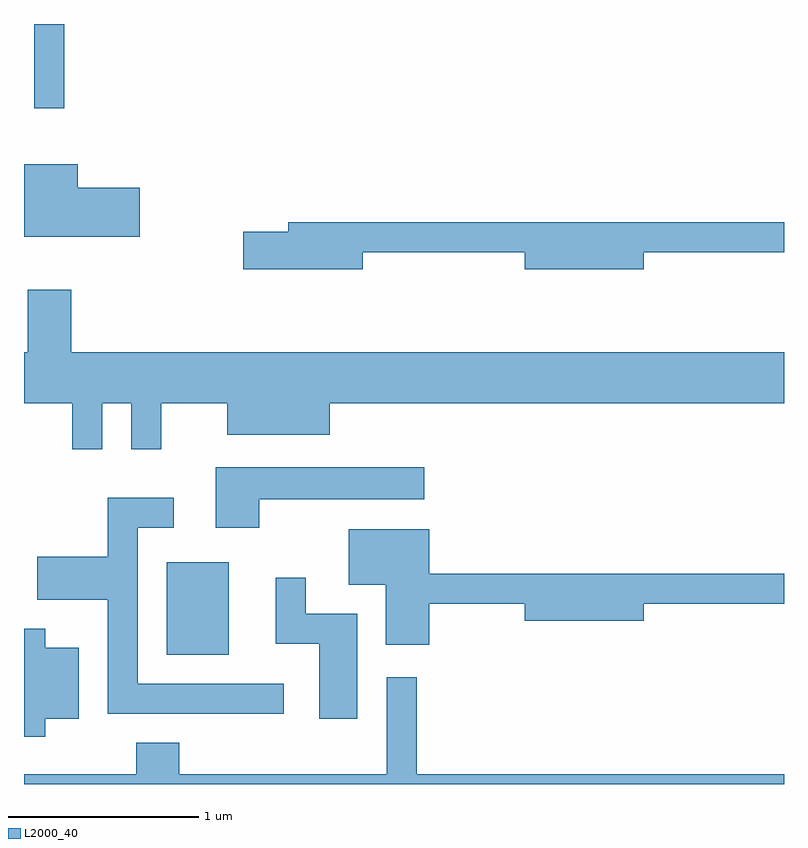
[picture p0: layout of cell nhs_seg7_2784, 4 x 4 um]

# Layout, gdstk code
import gdstk
lib = gdstk.Library(unit=1e-6, precision=1e-09)
def R(c, l, rs):  # rectangles x0, y0, x1, y1
    for r in rs: c.add(gdstk.rectangle(r[:2], r[2:], *l))
def P(c, l, *ps):  # polygons
    for p in ps: c.add(gdstk.Polygon(p, *l))
L2000_40 = (2000, 40)

nhs_seg7_2784 = lib.new_cell('nhs_seg7_2784')
R(nhs_seg7_2784, L2000_40, [(270.361,1772.931,270.689,1773.419), (269.666,1775.808,269.824,1776.252)])
P(nhs_seg7_2784, L2000_40, [(270.219,1775.389),(269.894,1775.389),(269.894,1775.514),(269.611,1775.514),(269.611,1775.131),(270.219,1775.131)],
  [(271.394,1775.051),(272.246,1775.051),(272.246,1774.961),(272.874,1774.961),(272.874,1775.051),(273.611,1775.051),(273.611,1775.209),(271.001,1775.209),(271.001,1775.159),(270.766,1775.159),(270.766,1774.961),(271.394,1774.961)],
  [(270.024,1774.256),(270.176,1774.256),(270.176,1774.013),(270.334,1774.013),(270.334,1774.256),(270.681,1774.256),(270.681,1774.091),(271.219,1774.091),(271.219,1774.256),(273.611,1774.256),(273.611,1774.524),(269.859,1774.524),(269.859,1774.854),(269.631,1774.854),(269.631,1774.524),(269.611,1774.524),(269.611,1774.256),(269.866,1774.256),(269.866,1774.013),(270.024,1774.013)],
  [(270.849,1773.751),(271.718,1773.751),(271.718,1773.919),(270.621,1773.919),(270.621,1773.601),(270.849,1773.601)],
  [(270.978,1772.779),(270.209,1772.779),(270.209,1773.601),(270.398,1773.601),(270.398,1773.759),(270.051,1773.759),(270.051,1773.449),(269.681,1773.449),(269.681,1773.221),(270.051,1773.221),(270.051,1772.621),(270.978,1772.621)],
  [(271.744,1773.201),(272.246,1773.201),(272.246,1773.111),(272.874,1773.111),(272.874,1773.201),(273.611,1773.201),(273.611,1773.359),(271.744,1773.359),(271.744,1773.594),(271.321,1773.594),(271.321,1773.301),(271.516,1773.301),(271.516,1772.986),(271.744,1772.986)],
  [(271.364,1773.149),(271.094,1773.149),(271.094,1773.338),(270.936,1773.338),(270.936,1772.991),(271.166,1772.991),(271.166,1772.596),(271.364,1772.596)],
  [(269.724,1772.596),(269.899,1772.596),(269.899,1772.969),(269.724,1772.969),(269.724,1773.069),(269.611,1773.069),(269.611,1772.501),(269.724,1772.501)],
  [(273.611,1772.304),(271.679,1772.304),(271.679,1772.813),(271.521,1772.813),(271.521,1772.304),(270.429,1772.304),(270.429,1772.469),(270.201,1772.469),(270.201,1772.304),(269.611,1772.304),(269.611,1772.252),(273.611,1772.252)])

lib.write_gds('nhs_seg7_2784.gds')
